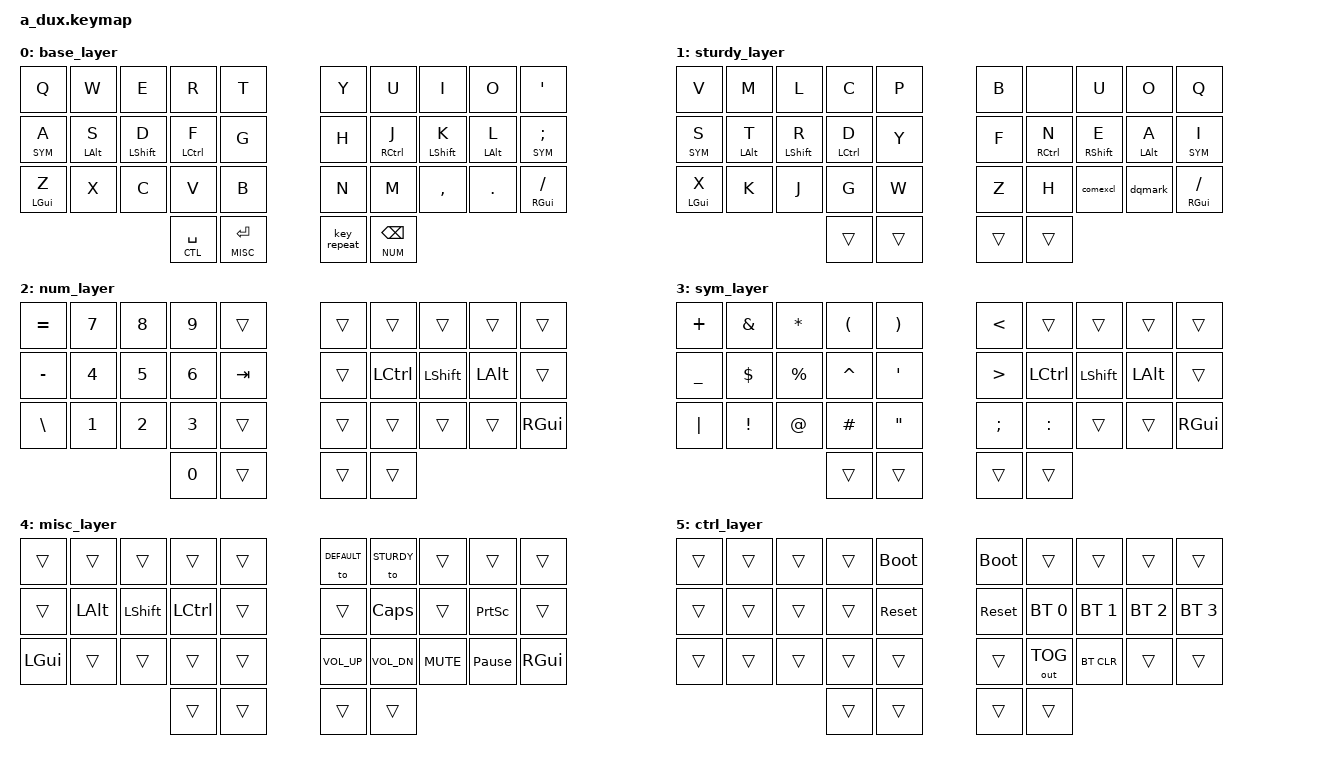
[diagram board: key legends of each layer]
/*
 * Copyright (c) 2021 The ZMK Contributors
 *
 * SPDX-License-Identifier: MIT
 */
/* |  0 |  1 |  2 |  3 |  4 |    |   |    |  5 |  6 |  7 |  8 |  9 |
   | 10 | 11 | 12 | 13 | 14 |    |   |    | 15 | 16 | 17 | 18 | 19 |
   | 20 | 21 | 22 | 23 | 24 |    |   |    | 25 | 26 | 27 | 28 | 29 |
   |    |    |    |    | 30 | 31 |   | 32 | 33 |    |    |    |    | */

#include <behaviors.dtsi>
#include <dt-bindings/zmk/bt.h>
#include <dt-bindings/zmk/keys.h>
#include <dt-bindings/zmk/outputs.h>

#define DEFAULT  0
#define STURDY   1
#define NUM      2
#define SYM      3
#define MISC     4
#define CTL      5

&caps_word {
    continue-list = <UNDERSCORE MINUS>;
};

&lt {
    quick-tap-ms = <175>;
    flavor = "balanced";
};

/ {
    combos {
        compatible = "zmk,combos";

        combo_lbkt {
            timeout-ms = <50>;
            key-positions = <5 15>;
            bindings = <&kp LBKT>;
            layers = <0 1>;
        };

        combo_rbkt {
            timeout-ms = <50>;
            key-positions = <4 14>;
            bindings = <&kp RBKT>;
            layers = <0 1>;
        };

        combo_semi {
            timeout-ms = <50>;
            key-positions = <15 25>;
            bindings = <&kp P>;
            layers = <0 1>;
        };

        combo_grave {
            timeout-ms = <50>;
            key-positions = <14 24>;
            bindings = <&kp GRAVE>;
            layers = <0 1>;
        };

        combo_esc {
            timeout-ms = <50>;
            key-positions = <30 31>;
            bindings = <&kp ESC>;
            layers = <0 1>;
        };

        combo_del {
            timeout-ms = <50>;
            key-positions = <32 33>;
            bindings = <&kp DEL>;
            layers = <0 1>;
        };

        combo_caps_word {
            timeout-ms = <50>;
            key-positions = <13 16>;
            bindings = <&caps_word>;
            layers = <0 1>;
        };
    };

    behaviors {
        rhm: rhm {
            compatible = "zmk,behavior-hold-tap";
            label = "RHM";
            bindings = <&kp>, <&kp>;

            #binding-cells = <2>;
            flavor = "balanced";
            tapping-term-ms = <230>;
            quick-tap-ms = <175>;
            require-prior-idle-ms = <100>;
            hold-trigger-on-release;
            hold-trigger-key-positions = <0 10 11 13 14 20 21 22 23 24 30 31 4 3 2 12 1>;
        };

        lhm: lhm {
            compatible = "zmk,behavior-hold-tap";
            label = "LHM";
            bindings = <&kp>, <&kp>;

            #binding-cells = <2>;
            tapping-term-ms = <230>;
            quick-tap-ms = <175>;
            require-prior-idle-ms = <100>;
            hold-trigger-key-positions = <5 6 7 8 9 15 16 17 18 19 25 26 27 28 29 32 33>;
            hold-trigger-on-release;
            flavor = "balanced";
        };

        dqmark: dot_qmark {
            compatible = "zmk,behavior-mod-morph";
            label = "DOT_QMARK";
            #binding-cells = <0>;
            bindings = <&kp DOT>, <&kp QMARK>;

            mods = <(MOD_LSFT|MOD_RSFT)>;
        };

        comexcl: comm_excl {
            compatible = "zmk,behavior-mod-morph";
            label = "COMMA_EXCL";
            #binding-cells = <0>;
            bindings = <&kp COMMA>, <&kp EXCL>;

            mods = <(MOD_LSFT|MOD_RSFT)>;
        };
    };

    keymap {
        compatible = "zmk,keymap";

        base_layer {
            bindings = <
&kp Q        &kp W        &kp E         &kp R         &kp T                                       &kp Y         &kp U         &kp I         &kp O        &kp SQT
&lt SYM A    &lhm LALT S  &lhm LSHFT D  &lhm LCTRL F  &kp G                                       &kp H         &rhm RCTRL J  &rhm LSHFT K  &rhm LALT L  &lt SYM SEMI
&lhm LGUI Z  &kp X        &kp C         &kp V         &kp B                                       &kp N         &kp M         &kp COMMA     &kp DOT      &rhm RGUI SLASH
                                                      &lt CTL SPC  &lt MISC ENTER    &key_repeat  &lt NUM BSPC
            >;
        };

        sturdy_layer {
            bindings = <
&kp V        &kp M        &kp L         &kp C         &kp P                     &kp B   &none         &kp U         &kp O        &kp Q
&lt SYM S    &lhm LALT T  &lhm LSHFT R  &lhm LCTRL D  &kp Y                     &kp F   &rhm RCTRL N  &rhm RSHFT E  &rhm LALT A  &lt SYM I
&lhm LGUI X  &kp K        &kp J         &kp G         &kp W                     &kp Z   &kp H         &comexcl      &dqmark      &rhm RGUI SLASH
                                                      &trans  &trans    &trans  &trans
            >;
        };

        num_layer {
            bindings = <
&kp EQUAL  &kp N7  &kp N8  &kp N9  &trans                     &trans  &trans     &trans     &trans    &trans
&kp MINUS  &kp N4  &kp N5  &kp N6  &kp TAB                    &trans  &kp LCTRL  &kp LSHFT  &kp LALT  &trans
&kp BSLH   &kp N1  &kp N2  &kp N3  &trans                     &trans  &trans     &trans     &trans    &kp RGUI
                                   &kp N0   &trans    &trans  &trans
            >;
        };

        sym_layer {
            bindings = <
&kp PLUS   &kp AMPS  &kp ASTRK  &kp LPAR   &kp RPAR                    &kp LT    &trans     &trans     &trans    &trans
&kp UNDER  &kp DLLR  &kp PRCNT  &kp CARET  &kp SQT                     &kp GT    &kp LCTRL  &kp LSHFT  &kp LALT  &trans
&kp PIPE   &kp EXCL  &kp AT     &kp HASH   &kp DQT                     &kp SEMI  &kp COLON  &trans     &trans    &kp RGUI
                                           &trans    &trans    &trans  &trans
            >;
        };

        misc_layer {
            bindings = <
&trans    &trans    &trans     &trans     &trans                    &to DEFAULT   &to STURDY    &trans      &trans           &trans
&trans    &kp LALT  &kp LSHFT  &kp LCTRL  &trans                    &trans        &kp CAPS      &trans      &kp PSCRN        &trans
&kp LGUI  &trans    &trans     &trans     &trans                    &kp K_VOL_UP  &kp K_VOL_DN  &kp K_MUTE  &kp PAUSE_BREAK  &kp RGUI
                                          &trans  &trans    &trans  &trans
            >;
        };

        ctrl_layer {
            bindings = <
&trans  &trans  &trans  &trans  &bootloader                    &bootloader  &trans        &trans        &trans        &trans
&trans  &trans  &trans  &trans  &sys_reset                     &sys_reset   &bt BT_SEL 0  &bt BT_SEL 1  &bt BT_SEL 2  &bt BT_SEL 3
&trans  &trans  &trans  &trans  &trans                         &trans       &out OUT_TOG  &bt BT_CLR    &trans        &trans
                                &trans       &trans    &trans  &trans
            >;
        };
    };
};

/* Local Variables: */
/* mode: devicetree-ts */
/* End: */
